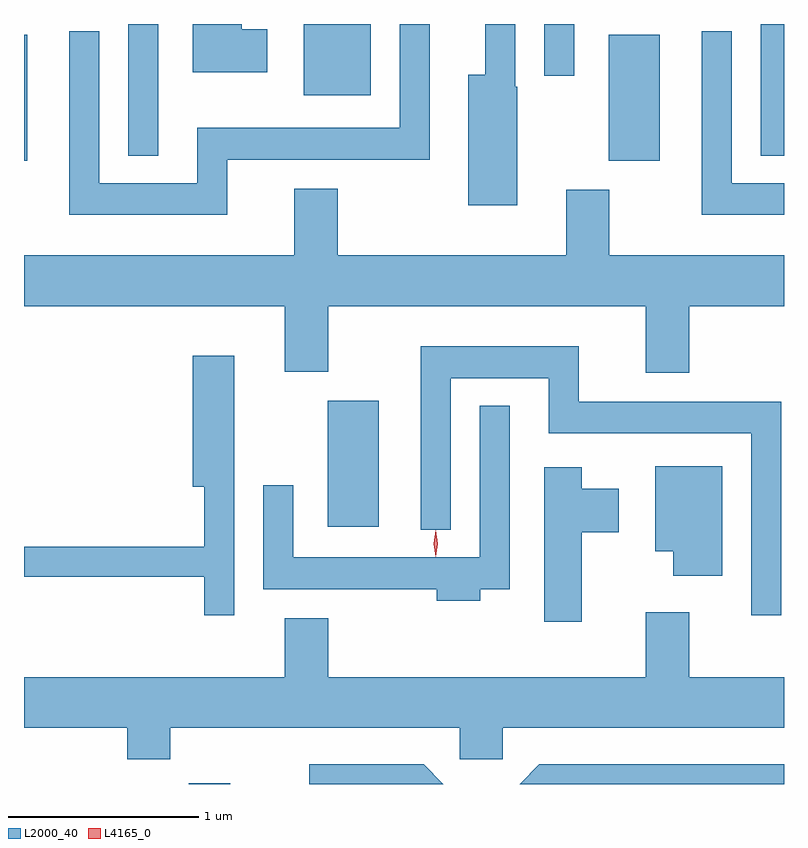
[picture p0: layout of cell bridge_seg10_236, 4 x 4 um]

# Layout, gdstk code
import gdstk
lib = gdstk.Library(unit=1e-6, precision=1e-09)
def R(c, l, rs):  # rectangles x0, y0, x1, y1
    for r in rs: c.add(gdstk.rectangle(r[:2], r[2:], *l))
def P(c, l, *ps):  # polygons
    for p in ps: c.add(gdstk.Polygon(p, *l))
L2000_40 = (2000, 40)
L4165_0 = (4165, 0)

bridge_seg10_236 = lib.new_cell('bridge_seg10_236')
R(bridge_seg10_236, L2000_40, [(1800.726,2098.081,1800.944,2098.084), (1801.456,2099.436,1801.724,2100.099), (1799.858,2101.361,1799.874,2102.024), (1802.936,2101.361,1803.204,2102.024), (1800.406,2101.388,1800.564,2102.081), (1803.736,2101.388,1803.858,2102.081), (1801.331,2101.706,1801.684,2102.081), (1802.596,2101.808,1802.754,2102.081)])
P(bridge_seg10_236, L2000_40, [(1800.929,2101.366),(1801.994,2101.366),(1801.994,2102.081),(1801.836,2102.081),(1801.836,2101.534),(1800.771,2101.534),(1800.771,2101.244),(1800.254,2101.244),(1800.254,2102.043),(1800.096,2102.043),(1800.096,2101.076),(1800.929,2101.076)],
  [(1802.454,2101.75),(1802.444,2101.75),(1802.444,2102.081),(1802.286,2102.081),(1802.286,2101.814),(1802.196,2101.814),(1802.196,2101.126),(1802.454,2101.126)],
  [(1801.139,2102.054),(1801.004,2102.054),(1801.004,2102.081),(1800.746,2102.081),(1800.746,2101.826),(1801.139,2101.826)],
  [(1803.858,2101.244),(1803.584,2101.244),(1803.584,2102.043),(1803.426,2102.043),(1803.426,2101.076),(1803.858,2101.076)],
  [(1803.359,2100.596),(1803.858,2100.596),(1803.858,2100.864),(1802.939,2100.864),(1802.939,2101.209),(1802.711,2101.209),(1802.711,2100.864),(1801.509,2100.864),(1801.509,2101.214),(1801.281,2101.214),(1801.281,2100.864),(1799.858,2100.864),(1799.858,2100.596),(1801.231,2100.596),(1801.231,2100.251),(1801.459,2100.251),(1801.459,2100.596),(1803.131,2100.596),(1803.131,2100.246),(1803.359,2100.246)],
  [(1803.844,2100.094),(1802.779,2100.094),(1802.779,2100.384),(1801.946,2100.384),(1801.946,2099.418),(1802.104,2099.418),(1802.104,2100.216),(1802.621,2100.216),(1802.621,2099.926),(1803.686,2099.926),(1803.686,2098.968),(1803.844,2098.968)],
  [(1800.964,2100.334),(1800.746,2100.334),(1800.746,2099.646),(1800.806,2099.646),(1800.806,2099.329),(1799.858,2099.329),(1799.858,2099.171),(1800.806,2099.171),(1800.806,2098.968),(1800.964,2098.968)],
  [(1802.259,2099.106),(1802.414,2099.106),(1802.414,2100.073),(1802.256,2100.073),(1802.256,2099.274),(1801.274,2099.274),(1801.274,2099.653),(1801.116,2099.653),(1801.116,2099.106),(1802.031,2099.106),(1802.031,2099.046),(1802.259,2099.046)],
  [(1803.534,2099.754),(1803.181,2099.754),(1803.181,2099.306),(1803.276,2099.306),(1803.276,2099.176),(1803.534,2099.176)],
  [(1802.794,2099.406),(1802.989,2099.406),(1802.989,2099.634),(1802.794,2099.634),(1802.794,2099.749),(1802.596,2099.749),(1802.596,2098.936),(1802.794,2098.936)],
  [(1800.629,2098.376),(1802.151,2098.376),(1802.151,2098.211),(1802.379,2098.211),(1802.379,2098.376),(1803.858,2098.376),(1803.858,2098.644),(1803.359,2098.644),(1803.359,2098.984),(1803.131,2098.984),(1803.131,2098.644),(1801.459,2098.644),(1801.459,2098.954),(1801.231,2098.954),(1801.231,2098.644),(1799.858,2098.644),(1799.858,2098.376),(1800.401,2098.376),(1800.401,2098.211),(1800.629,2098.211)],
  [(1803.858,2098.184),(1802.569,2098.184),(1802.466,2098.081),(1803.858,2098.081)],
  [(1801.962,2098.184),(1801.358,2098.184),(1801.358,2098.081),(1802.065,2098.081)])
P(bridge_seg10_236, L4165_0, [(1802.025,2099.28),(1802.025,2099.28),(1802.015,2099.346),(1802.024,2099.412),(1802.025,2099.413),(1802.025,2099.412),(1802.035,2099.346),(1802.026,2099.28)],
  [(1802.024,2099.277),(1802.015,2099.346),(1802.024,2099.416),(1802.025,2099.416),(1802.025,2099.416),(1802.035,2099.346),(1802.025,2099.277),(1802.025,2099.277)])

lib.write_gds('bridge_seg10_236.gds')
